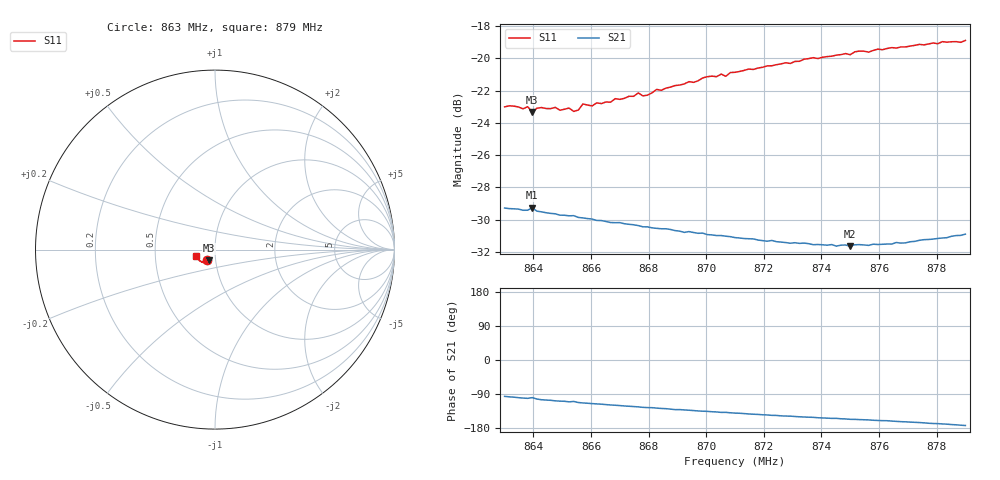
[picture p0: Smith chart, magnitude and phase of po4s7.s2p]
# HZ S RI R 50
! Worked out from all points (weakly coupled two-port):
!   101 points, 863 MHz to 879 MHz, reference 50 ohm
!   highest |S21| = -29.26 dB at 863.96 MHz (marker M1); lowest = -31.6 dB at 875 MHz (marker M2)
!   lowest |S11| = -23.3 dB at 863.96 MHz (marker M3), VSWR 1.15, Z = 46.3 - j5.48 ohm
!   |S11| at or under -10 dB: start of sweep to end of sweep
!   S12 and S22 are empty: the file has one direction only
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8.63e8  -0.0423 -0.0567  -0.00356 -0.0342  0 0  0 0
8.638e8  -0.0408 -0.0579  -0.00656 -0.0332  0 0  0 0
8.6396e8  -0.0345 -0.0589  -0.00554 -0.034  0 0  0 0
8.6428e8  -0.0384 -0.0591  -0.00855 -0.0323  0 0  0 0
8.6492e8  -0.0374 -0.0581  -0.0104 -0.0309  0 0  0 0
8.6524e8  -0.037 -0.0596  -0.0114 -0.0304  0 0  0 0
8.654e8  -0.0327 -0.0602  -0.0108 -0.0307  0 0  0 0
8.6556e8  -0.0356 -0.0593  -0.0121 -0.0297  0 0  0 0
8.6572e8  -0.0359 -0.0627  -0.0127 -0.0294  0 0  0 0
8.6604e8  -0.0354 -0.0618  -0.0135 -0.0287  0 0  0 0
8.6764e8  -0.0392 -0.0676  -0.0168 -0.0252  0 0  0 0
8.678e8  -0.0392 -0.0658  -0.0172 -0.0246  0 0  0 0
8.6828e8  -0.0399 -0.0695  -0.0178 -0.0238  0 0  0 0
8.6844e8  -0.0403 -0.0687  -0.0182 -0.0234  0 0  0 0
8.7004e8  -0.0482 -0.0733  -0.0203 -0.0199  0 0  0 0
8.7052e8  -0.0511 -0.0734  -0.0211 -0.0188  0 0  0 0
8.7068e8  -0.05 -0.0725  -0.0209 -0.0187  0 0  0 0
8.71e8  -0.0535 -0.0731  -0.0213 -0.0178  0 0  0 0
8.7372e8  -0.0714 -0.0708  -0.0232 -0.0127  0 0  0 0
8.75e8  -0.0805 -0.0639  -0.024 -0.0104  0 0  0 0
8.7644e8  -0.0917 -0.0572  -0.0251 -0.00857  0 0  0 0
8.79e8  -0.1078 -0.0364  -0.0283 -0.00355  0 0  0 0
